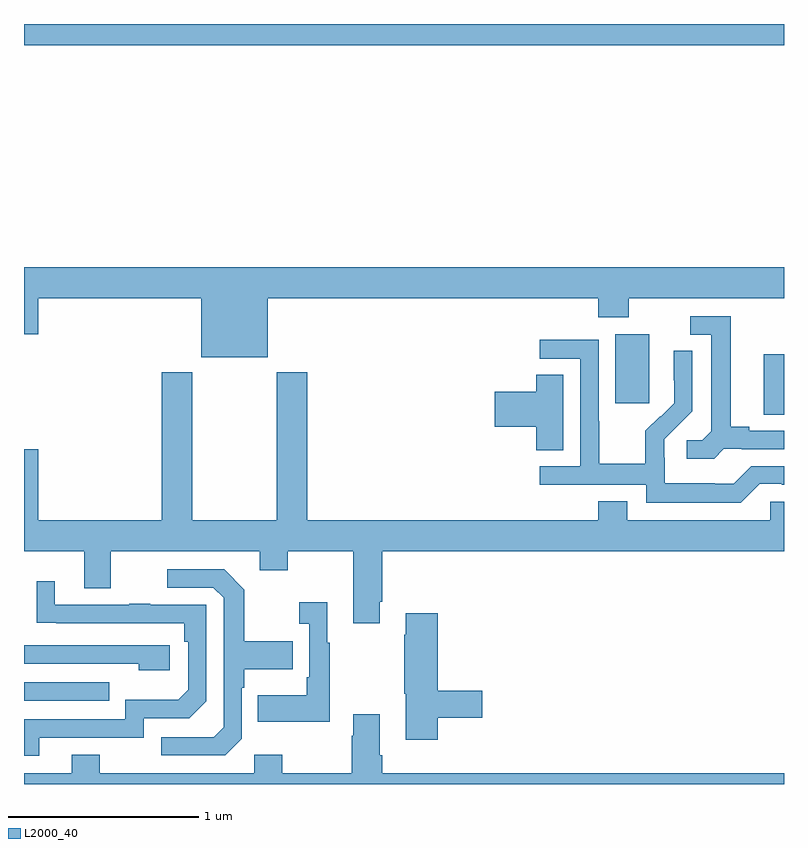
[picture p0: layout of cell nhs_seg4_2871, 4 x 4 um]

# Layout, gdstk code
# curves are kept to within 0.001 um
import gdstk
lib = gdstk.Library(unit=1e-6, precision=1e-09)
def R(c, l, rs):  # rectangles x0, y0, x1, y1
    for r in rs: c.add(gdstk.rectangle(r[:2], r[2:], *l))
def P(c, l, *ps):  # polygons
    for p in ps: c.add(gdstk.Polygon(p, *l))
L2000_40 = (2000, 40)

nhs_seg4_2871 = lib.new_cell('nhs_seg4_2871')
R(nhs_seg4_2871, L2000_40, [(261,825.339,261.449,825.435), (264.893,826.843,265,827.163), (264.113,826.905,264.292,827.266), (261,828.788,265,828.9)])
P(nhs_seg4_2871, L2000_40, [(262.282,827.456),(264.023,827.456),(264.023,827.357),(264.183,827.357),(264.183,827.456),(265,827.456),(265,827.62),(261,827.62),(261,827.268),(261.076,827.268),(261.076,827.456),(261.932,827.456),(261.932,827.147),(262.282,827.147)],
  [(264.684,826.665),(264.778,826.665),(264.778,826.662),(265,826.662),(265,826.758),(264.817,826.758),(264.817,826.781),(264.721,826.781),(264.721,827.361),(264.507,827.361),(264.507,827.265),(264.617,827.265),(264.617,826.757),(264.57,826.71),(264.489,826.71),(264.489,826.613),(264.632,826.613)],
  [(264.873,826.479),(264.989,826.479),(264.989,826.476),(265,826.476),(265,826.572),(264.828,826.572),(264.735,826.479),(264.635,826.479),(264.635,826.483),(264.372,826.483),(264.372,826.617),(264.37,826.617),(264.37,826.714),(264.516,826.862),(264.516,827.18),(264.42,827.18),(264.42,827.026),(264.422,827.026),(264.422,826.904),(264.351,826.833),(264.348,826.836),(264.271,826.759),(264.271,826.585),(264.027,826.585),(264.027,826.808),(264.024,826.808),(264.024,827.238),(263.715,827.238),(263.715,827.139),(263.928,827.139),(263.928,826.572),(263.715,826.572),(263.715,826.476),(264.276,826.476),(264.276,826.379),(264.773,826.379)],
  [(262.873,825.859),(262.886,825.859),(262.886,826.124),(265,826.124),(265,826.386),(264.927,826.386),(264.927,826.288),(264.175,826.288),(264.175,826.387),(264.023,826.387),(264.023,826.288),(262.49,826.288),(262.49,827.068),(262.33,827.068),(262.33,826.288),(261.885,826.288),(261.885,827.068),(261.725,827.068),(261.725,826.288),(261.076,826.288),(261.076,826.663),(261,826.663),(261,826.124),(261.317,826.124),(261.317,825.93),(261.457,825.93),(261.457,826.124),(262.241,826.124),(262.241,826.025),(262.389,826.025),(262.389,826.124),(262.733,826.124),(262.733,825.747),(262.873,825.747)],
  [(263.839,827.054),(263.696,827.054),(263.696,826.964),(263.478,826.964),(263.478,826.781),(263.696,826.781),(263.696,826.657),(263.839,826.657)],
  [(262.146,825.138),(262.146,825.407),(262.159,825.407),(262.159,825.503),(262.415,825.503),(262.415,825.651),(262.159,825.651),(262.159,825.923),(262.053,826.029),(261.753,826.029),(261.753,825.933),(261.996,825.933),(262.05,825.879),(262.05,825.198),(261.999,825.147),(261.723,825.147),(261.723,825.051),(262.059,825.051)],
  [(261.079,825.144),(261.63,825.144),(261.63,825.246),(261.87,825.246),(261.96,825.336),(261.96,825.843),(261.665,825.843),(261.665,825.848),(261.553,825.848),(261.553,825.843),(261.163,825.843),(261.163,825.967),(261.067,825.967),(261.067,825.748),(261.844,825.747),(261.844,825.65),(261.864,825.65),(261.864,825.396),(261.811,825.343),(261.534,825.343),(261.534,825.24),(261,825.24),(261,825.048),(261.079,825.048)],
  [(262.609,825.643),(262.597,825.643),(262.597,825.856),(262.449,825.856),(262.449,825.743),(262.5,825.743),(262.5,825.463),(262.488,825.463),(262.488,825.367),(262.231,825.367),(262.231,825.227),(262.609,825.227)],
  [(263.177,825.25),(263.413,825.25),(263.413,825.392),(263.177,825.392),(263.177,825.799),(263.009,825.799),(263.009,825.686),(263.002,825.686),(263.002,825.375),(263.009,825.375),(263.009,825.132),(263.177,825.132)],
  [(261.766,825.63),(261,825.63),(261,825.534),(261.605,825.534),(261.605,825.5),(261.766,825.5)],
  [(265,824.956),(262.886,824.956),(262.886,825.052),(262.873,825.052),(262.873,825.268),(262.733,825.268),(262.733,825.155),(262.726,825.155),(262.726,824.956),(262.359,824.956),(262.359,825.055),(262.212,825.055),(262.212,824.956),(261.399,824.956),(261.399,825.055),(261.251,825.055),(261.251,824.956),(261,824.956),(261,824.9),(265,824.9)])

lib.write_gds('nhs_seg4_2871.gds')
